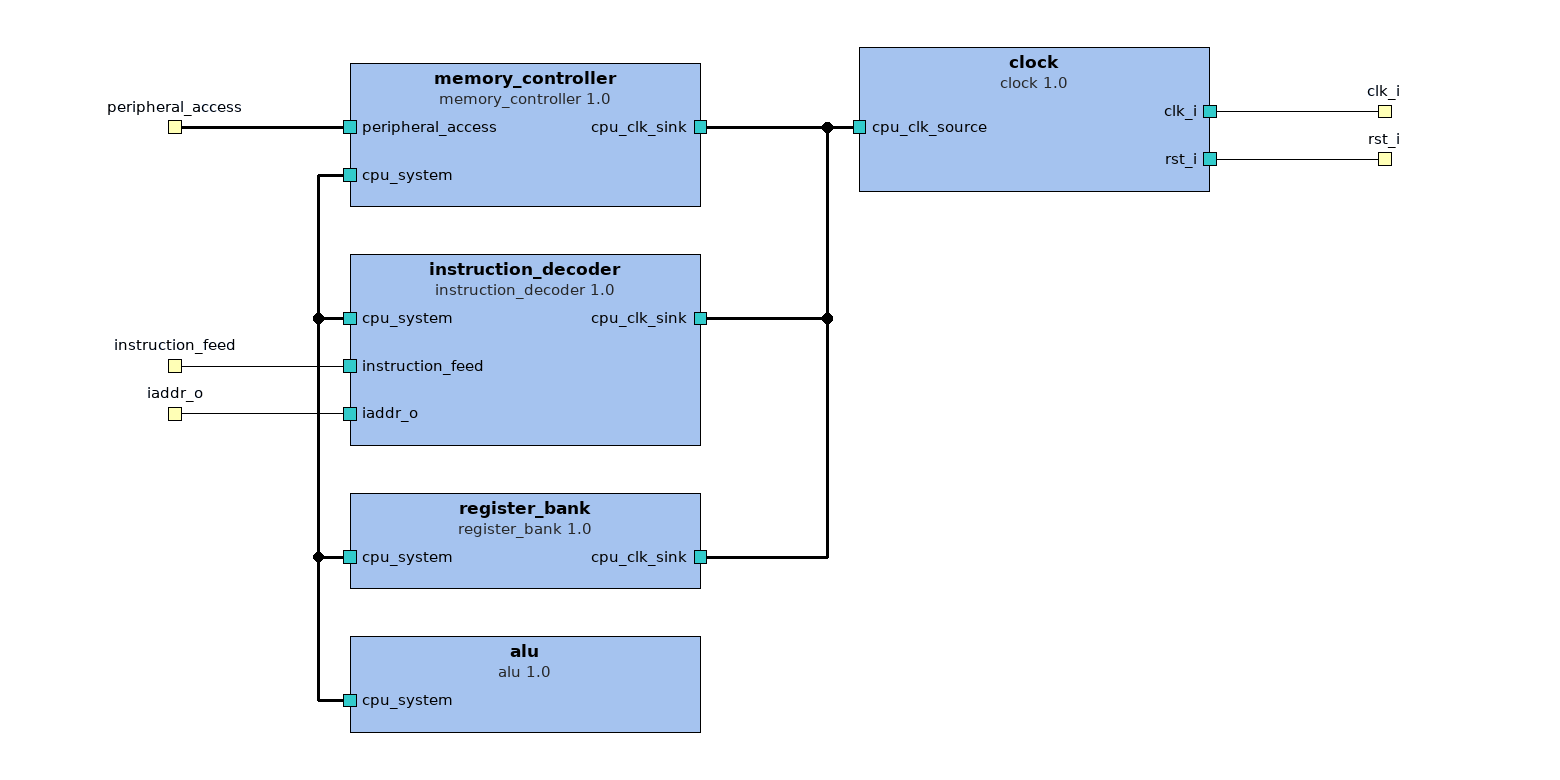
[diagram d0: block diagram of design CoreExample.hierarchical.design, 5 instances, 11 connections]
<?xml version="1.0" encoding="UTF-8"?>
<ipxact:design xmlns:xsi="http://www.w3.org/2001/XMLSchema-instance" xmlns:ipxact="http://www.accellera.org/XMLSchema/IPXACT/1685-2014" xmlns:kactus2="http://kactus2.cs.tut.fi" xsi:schemaLocation="http://www.accellera.org/XMLSchema/IPXACT/1685-2014/ http://www.accellera.org/XMLSchema/IPXACT/1685-2014/index.xsd"><ipxact:vendor>tut.fi</ipxact:vendor><ipxact:library>core</ipxact:library><ipxact:name>CoreExample.hierarchical.design</ipxact:name>
 <ipxact:version>1.0</ipxact:version><ipxact:componentInstances>
 <ipxact:componentInstance><ipxact:instanceName>instruction_decoder</ipxact:instanceName>
  <ipxact:componentRef vendor="tut.fi" library="core" name="instruction_decoder" version="1.0"><ipxact:configurableElementValues><ipxact:configurableElementValue referenceId="uuid_9641f7b1_19d4_49d4_95c8_cae15e0c612d">uuid_240da555_796c_42e9_b09d_9769b11e8ac7</ipxact:configurableElementValue></ipxact:configurableElementValues></ipxact:componentRef>
 </ipxact:componentInstance>
 <ipxact:componentInstance><ipxact:instanceName>alu</ipxact:instanceName><ipxact:componentRef vendor="tut.fi" library="core" name="alu" version="1.0"><ipxact:configurableElementValues><ipxact:configurableElementValue referenceId="uuid_f0339227_14b3_43a1_81d2_5e1c989aa537">uuid_240da555_796c_42e9_b09d_9769b11e8ac7</ipxact:configurableElementValue></ipxact:configurableElementValues></ipxact:componentRef></ipxact:componentInstance>
 <ipxact:componentInstance><ipxact:instanceName>memory_controller</ipxact:instanceName>
  <ipxact:componentRef vendor="tut.fi" library="core" name="memory_controller" version="1.0">
   <ipxact:configurableElementValues><ipxact:configurableElementValue referenceId="uuid_11795f77_041d_4548_bcf3_cd41b67482a1">uuid_240da555_796c_42e9_b09d_9769b11e8ac7</ipxact:configurableElementValue><ipxact:configurableElementValue referenceId="uuid_b6bb8c34_3d40_4189_b91d_6cdce56c33f1">uuid_6e1d17f1_eadc_4bdc_886b_00a3c4016028</ipxact:configurableElementValue><ipxact:configurableElementValue referenceId="uuid_e3b353a9_9c84_4f26_a9bf_8271de5b015c">uuid_ad551e0e_7aa5_4972_bb1d_ec97505a773e</ipxact:configurableElementValue>
    <ipxact:configurableElementValue referenceId="uuid_e835eae8_6310_47c7_a791_8ee2df766ed3">uuid_9d887d27_b1b6_4b29_b7c1_b9916038a6b4</ipxact:configurableElementValue><ipxact:configurableElementValue referenceId="uuid_2ffce492_7d27_445c_b34f_0e1165008ece">uuid_ffabd536_0c3b_4a57_a403_90dce6fb42b5</ipxact:configurableElementValue>
   </ipxact:configurableElementValues>
  </ipxact:componentRef>
 </ipxact:componentInstance>
 <ipxact:componentInstance><ipxact:instanceName>register_bank</ipxact:instanceName>
  <ipxact:componentRef vendor="tut.fi" library="core" name="register_bank" version="1.0"><ipxact:configurableElementValues><ipxact:configurableElementValue referenceId="uuid_8cf9f778_bf4e_4da5_9647_baa7ec8c8ddf">uuid_240da555_796c_42e9_b09d_9769b11e8ac7</ipxact:configurableElementValue><ipxact:configurableElementValue referenceId="uuid_65a04e84_85d1_4de3_93bf_fa3c61a6e01b">uuid_ffabd536_0c3b_4a57_a403_90dce6fb42b5</ipxact:configurableElementValue></ipxact:configurableElementValues></ipxact:componentRef>
 </ipxact:componentInstance>
 <ipxact:componentInstance><ipxact:instanceName>clock</ipxact:instanceName><ipxact:componentRef vendor="tut.fi" library="core" name="clock" version="1.0"><ipxact:configurableElementValues><ipxact:configurableElementValue referenceId="uuid_141e5050_fce5_4fe6_9bf7_5ad03d67b621">1</ipxact:configurableElementValue></ipxact:configurableElementValues></ipxact:componentRef></ipxact:componentInstance>
</ipxact:componentInstances><ipxact:interconnections>
 <ipxact:interconnection><ipxact:name>memory_controller_cpu_system_to_alu_cpu_system</ipxact:name><ipxact:activeInterface componentRef="memory_controller" busRef="cpu_system"/><ipxact:activeInterface componentRef="alu" busRef="cpu_system"/></ipxact:interconnection>
 <ipxact:interconnection><ipxact:name>clock_cpu_clk_source_to_register_bank_cpu_clk_sink</ipxact:name><ipxact:activeInterface componentRef="clock" busRef="cpu_clk_source"/><ipxact:activeInterface componentRef="register_bank" busRef="cpu_clk_sink"/></ipxact:interconnection>
 <ipxact:interconnection><ipxact:name>clock_cpu_clk_source_to_memory_controller_cpu_clk_sink</ipxact:name><ipxact:activeInterface componentRef="clock" busRef="cpu_clk_source"/><ipxact:activeInterface componentRef="memory_controller" busRef="cpu_clk_sink"/></ipxact:interconnection>
 <ipxact:interconnection><ipxact:name>instruction_decoder_cpu_clk_sink_to_clock_cpu_clk_source</ipxact:name><ipxact:activeInterface componentRef="instruction_decoder" busRef="cpu_clk_sink"/><ipxact:activeInterface componentRef="clock" busRef="cpu_clk_source"/></ipxact:interconnection>
 <ipxact:interconnection><ipxact:name>register_bank_cpu_system_to_alu_cpu_system</ipxact:name><ipxact:activeInterface componentRef="register_bank" busRef="cpu_system"/><ipxact:activeInterface componentRef="alu" busRef="cpu_system"/></ipxact:interconnection>
 <ipxact:interconnection><ipxact:name>instruction_decoder_cpu_system_to_alu_cpu_system</ipxact:name><ipxact:activeInterface componentRef="instruction_decoder" busRef="cpu_system"/><ipxact:activeInterface componentRef="alu" busRef="cpu_system"/></ipxact:interconnection>
 <ipxact:interconnection><ipxact:name>memory_controller_peripheral_access_to_peripheral_access</ipxact:name><ipxact:activeInterface componentRef="memory_controller" busRef="peripheral_access"/><ipxact:hierInterface busRef="peripheral_access"/></ipxact:interconnection>
</ipxact:interconnections><ipxact:adHocConnections>
 <ipxact:adHocConnection><ipxact:name>instruction_decoder_instruction_feed_to_instruction_feed</ipxact:name><ipxact:portReferences><ipxact:internalPortReference componentRef="instruction_decoder" portRef="instruction_feed"/><ipxact:externalPortReference portRef="instruction_feed"/></ipxact:portReferences></ipxact:adHocConnection>
 <ipxact:adHocConnection><ipxact:name>clock_clk_i_to_clk_i</ipxact:name><ipxact:portReferences><ipxact:internalPortReference componentRef="clock" portRef="clk_i"/><ipxact:externalPortReference portRef="clk_i"/></ipxact:portReferences></ipxact:adHocConnection>
 <ipxact:adHocConnection><ipxact:name>clock_rst_i_to_rst_i</ipxact:name><ipxact:portReferences><ipxact:internalPortReference componentRef="clock" portRef="rst_i"/><ipxact:externalPortReference portRef="rst_i"/></ipxact:portReferences></ipxact:adHocConnection>
 <ipxact:adHocConnection><ipxact:name>instruction_decoder_iaddr_o_to_iaddr_o</ipxact:name><ipxact:portReferences><ipxact:internalPortReference componentRef="instruction_decoder" portRef="iaddr_o"/><ipxact:externalPortReference portRef="iaddr_o"/></ipxact:portReferences></ipxact:adHocConnection>
</ipxact:adHocConnections></ipxact:design>

